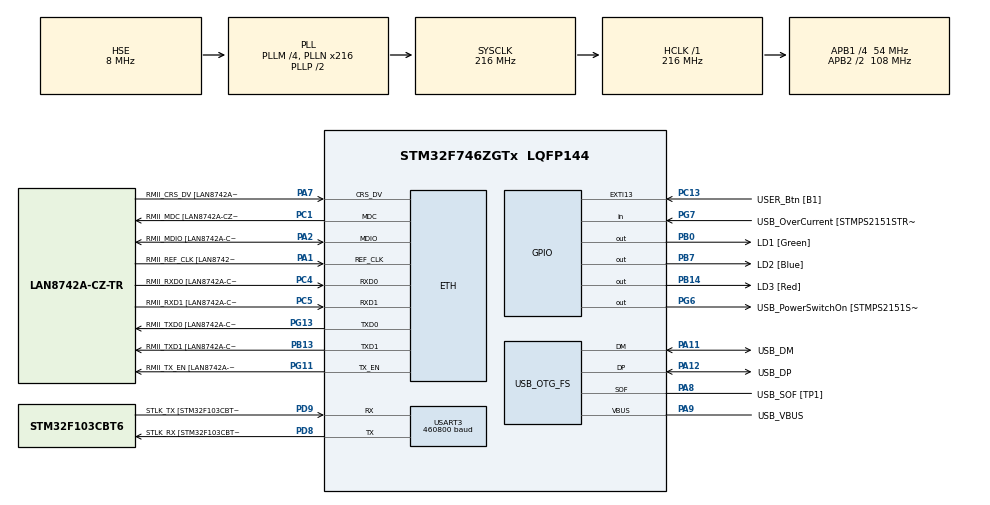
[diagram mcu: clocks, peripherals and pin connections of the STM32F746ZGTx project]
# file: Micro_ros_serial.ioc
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Dma.Request0=USART3_RX
Dma.Request1=USART3_TX
Dma.USART3_RX.0.Direction=DMA_PERIPH_TO_MEMORY
Dma.USART3_RX.0.FIFOMode=DMA_FIFOMODE_DISABLE
Dma.USART3_RX.0.Instance=DMA1_Stream1
Dma.USART3_RX.0.MemDataAlignment=DMA_MDATAALIGN_BYTE
Dma.USART3_RX.0.MemInc=DMA_MINC_ENABLE
Dma.USART3_RX.0.Mode=DMA_CIRCULAR
Dma.USART3_RX.0.PeriphDataAlignment=DMA_PDATAALIGN_BYTE
Dma.USART3_RX.0.PeriphInc=DMA_PINC_DISABLE
Dma.USART3_RX.0.Priority=DMA_PRIORITY_VERY_HIGH
Dma.USART3_TX.1.Direction=DMA_MEMORY_TO_PERIPH
Dma.USART3_TX.1.FIFOMode=DMA_FIFOMODE_DISABLE
Dma.USART3_TX.1.Instance=DMA1_Stream3
Dma.USART3_TX.1.MemDataAlignment=DMA_MDATAALIGN_BYTE
Dma.USART3_TX.1.MemInc=DMA_MINC_ENABLE
Dma.USART3_TX.1.Mode=DMA_NORMAL
Dma.USART3_TX.1.PeriphDataAlignment=DMA_PDATAALIGN_BYTE
Dma.USART3_TX.1.PeriphInc=DMA_PINC_DISABLE
Dma.USART3_TX.1.Priority=DMA_PRIORITY_VERY_HIGH
ETH.MediaInterface=HAL_ETH_RMII_MODE
ETH.PHY_Name=LAN8742A_PHY_ADDRESS
ETH.PHY_Value=0
ETH.PhyAddress=0
FREERTOS.Tasks01=defaultTask,19,8000,StartDefaultTask,Default,NULL,Dynamic,NULL,NULL
FREERTOS.configMAX_TASK_NAME_LEN=30
FREERTOS.configTOTAL_HEAP_SIZE=100000
FREERTOS.configUSE_NEWLIB_REENTRANT=1
LWIP.BSP.number=1
LWIP.GATEWAY_ADDRESS=192.168.001.001
LWIP.IP_ADDRESS=192.168.001.002
LWIP.LWIP_DHCP=0
LWIP.LWIP_IGMP=1
LWIP.LWIP_MULTICAST_TX_OPTIONS=1
LWIP.LWIP_SO_RCVTIMEO=1
LWIP.MEMP_NUM_UDP_PCB=15
LWIP.MEM_SIZE=30000
LWIP.NETMASK_ADDRESS=255.255.255.000
LWIP.PBUF_POOL_SIZE=20
LWIP.TCPIP_THREAD_PRIO=20
LWIP.TCPIP_THREAD_STACKSIZE=10000
LWIP.Version=v2.1.2_Cube
LWIP0.BSP.STBoard=false
LWIP0.BSP.api=BSP_COMPONENT_DRIVER
LWIP0.BSP.component=LAN8742
LWIP0.BSP.instance=LAN8742
LWIP0.BSP.name=Driver_PHY
LWIP0.BSP.semaphore=S_LAN8742
LWIP0.BSP.solution=LAN8742
Mcu.Family=STM32F7
Mcu.Name=STM32F746ZGTx
Mcu.Package=LQFP144
NVIC.DMA1_Stream1_IRQn=true\:5\:0\:false\:false\:true\:true\:false\:true\:true
NVIC.DMA1_Stream3_IRQn=true\:5\:0\:false\:false\:true\:true\:false\:true\:true
NVIC.ETH_IRQn=true\:5\:0\:false\:false\:true\:true\:false\:true\:true
NVIC.PriorityGroup=NVIC_PRIORITYGROUP_4
NVIC.TIM1_UP_TIM10_IRQn=true\:15\:0\:false\:false\:true\:false\:false\:true\:true
NVIC.TimeBase=TIM1_UP_TIM10_IRQn
NVIC.TimeBaseIP=TIM1
NVIC.USART3_IRQn=true\:5\:0\:false\:false\:true\:true\:true\:true\:true
PA1.GPIO_Label=RMII_REF_CLK [LAN8742A-CZ-TR_REFCLK0]
PA1.Mode=RMII
PA1.Signal=ETH_REF_CLK
PA10.GPIO_Label=USB_ID
PA10.Signal=USB_OTG_FS_ID
PA11.GPIO_Label=USB_DM
PA11.Mode=Device_Only
PA11.Signal=USB_OTG_FS_DM
PA12.GPIO_Label=USB_DP
PA12.Mode=Device_Only
PA12.Signal=USB_OTG_FS_DP
PA13.GPIO_Label=TMS
PA13.Mode=Serial_Wire
PA13.Signal=SYS_JTMS-SWDIO
PA14.GPIO_Label=TCK
PA14.Mode=Serial_Wire
PA14.Signal=SYS_JTCK-SWCLK
PA2.GPIO_Label=RMII_MDIO [LAN8742A-CZ-TR_MDIO]
PA2.Mode=RMII
PA2.Signal=ETH_MDIO
PA7.GPIO_Label=RMII_CRS_DV [LAN8742A-CZ-TR_CRS_DV]
PA7.Mode=RMII
PA7.Signal=ETH_CRS_DV
PA8.GPIO_Label=USB_SOF [TP1]
PA8.Mode=Activate_SOF_FS
PA8.Signal=USB_OTG_FS_SOF
PA9.GPIO_Label=USB_VBUS
PA9.Mode=Activate_VBUS
PA9.Signal=USB_OTG_FS_VBUS
PB0.GPIO_Label=LD1 [Green]
PB0.Signal=GPIO_Output
PB13.GPIO_Label=RMII_TXD1 [LAN8742A-CZ-TR_TXD1]
PB13.Mode=RMII
PB13.Signal=ETH_TXD1
PB14.GPIO_Label=LD3 [Red]
PB14.Signal=GPIO_Output
PB3.GPIO_Label=SW0
PB3.Signal=SYS_JTDO-SWO
PB7.GPIO_Label=LD2 [Blue]
PB7.Signal=GPIO_Output
PC1.GPIO_Label=RMII_MDC [LAN8742A-CZ-TR_MDC]
PC1.Mode=RMII
PC1.Signal=ETH_MDC
PC13.GPIO_Label=USER_Btn [B1]
PC13.Signal=GPXTI13
PC14/OSC32_IN.Mode=LSE-External-Oscillator
PC14/OSC32_IN.Signal=RCC_OSC32_IN
PC15/OSC32_OUT.Mode=LSE-External-Oscillator
PC15/OSC32_OUT.Signal=RCC_OSC32_OUT
PC4.GPIO_Label=RMII_RXD0 [LAN8742A-CZ-TR_RXD0]
PC4.Mode=RMII
PC4.Signal=ETH_RXD0
PC5.GPIO_Label=RMII_RXD1 [LAN8742A-CZ-TR_RXD1]
PC5.Mode=RMII
PC5.Signal=ETH_RXD1
PD8.GPIO_Label=STLK_RX [STM32F103CBT6_PA3]
PD8.GPIO_PuPd=GPIO_PULLUP
PD8.Mode=Asynchronous
PD8.Signal=USART3_TX
PD9.GPIO_Label=STLK_TX [STM32F103CBT6_PA2]
PD9.GPIO_PuPd=GPIO_PULLUP
PD9.Mode=Asynchronous
PD9.Signal=USART3_RX
PG11.GPIO_Label=RMII_TX_EN [LAN8742A-CZ-TR_TXEN]
PG11.Mode=RMII
PG11.Signal=ETH_TX_EN
PG13.GPIO_Label=RMII_TXD0 [LAN8742A-CZ-TR_TXD0]
PG13.Mode=RMII
PG13.Signal=ETH_TXD0
PG6.GPIO_Label=USB_PowerSwitchOn [STMPS2151STR_EN]
PG6.Signal=GPIO_Output
PG7.GPIO_Label=USB_OverCurrent [STMPS2151STR_FAULT]
PG7.Signal=GPIO_Input
PH0/OSC_IN.GPIO_Label=MCO [STM32F103CBT6_PA8]
PH0/OSC_IN.Mode=HSE-External-Oscillator
PH0/OSC_IN.Signal=RCC_OSC_IN
PH1/OSC_OUT.Mode=HSE-External-Oscillator
PH1/OSC_OUT.Signal=RCC_OSC_OUT
ProjectManager.HeapSize=0x200
ProjectManager.StackSize=0x400
ProjectManager.TargetToolchain=STM32CubeIDE
RCC.48MHZClocksFreq_Value=24000000
RCC.AHBFreq_Value=216000000
RCC.APB1CLKDivider=RCC_HCLK_DIV4
RCC.APB1Freq_Value=54000000
RCC.APB1TimFreq_Value=108000000
RCC.APB2CLKDivider=RCC_HCLK_DIV2
RCC.APB2Freq_Value=108000000
RCC.APB2TimFreq_Value=216000000
RCC.CortexFreq_Value=216000000
RCC.HCLKFreq_Value=216000000
RCC.HSE_VALUE=8000000
RCC.HSI_VALUE=16000000
RCC.PLLM=4
RCC.PLLMUL=RCC_PLL_MUL9
RCC.PLLN=216
RCC.PLLQ=9
RCC.PRESCALERUSB=RCC_USBCLKSOURCE_PLL_DIV1_5
RCC.SYSCLKFreq_VALUE=216000000
RCC.SYSCLKSource=RCC_SYSCLKSOURCE_PLLCLK
RCC.SYSCLKSourceVirtual=RCC_SYSCLKSOURCE_PLLCLK
RCC.USBFreq_Value=48000000
RCC.VCOOutputFreq_Value=432000000
USART3.BaudRate=460800
USART3.VirtualMode-Asynchronous=VM_ASYNC
USB_OTG_FS.VirtualMode=Device_Only
VP_FREERTOS_VS_CMSIS_V2.Mode=CMSIS_V2
VP_LWIP_VS_Enabled.Mode=Enabled
VP_SYS_VS_tim1.Mode=TIM1
board=NUCLEO-F746ZG

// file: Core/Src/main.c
/* USER CODE BEGIN Header */
/**
  ******************************************************************************
  * @file           : main.c
  * @brief          : Main program body
  ******************************************************************************
  * @attention
  *
  * <h2><center>&copy; Copyright (c) 2021 STMicroelectronics.
  * All rights reserved.</center></h2>
  *
  * This software component is licensed by ST under BSD 3-Clause license,
  * the "License"; You may not use this file except in compliance with the
  * License. You may obtain a copy of the License at:
  *                        opensource.org/licenses/BSD-3-Clause
  *
  ******************************************************************************
  */
/* USER CODE END Header */
#include "main.h"
#include "cmsis_os.h"
#include "lwip.h"

/* USER CODE BEGIN Includes */
#include <rcl/rcl.h>
#include <rcl/error_handling.h>
#include <rclc/rclc.h>
#include <rclc/executor.h>
#include <uxr/client/transport.h>
#include <rmw_microxrcedds_c/config.h>
#include <rmw_microros/rmw_microros.h>
#include <geometry_msgs/msg/twist.h>
#include <std_msgs/msg/int32.h>
#include <sensor_msgs/msg/joy.h>
#include<std_msgs/msg/u_int16_multi_array.h>
#include<stdlib.h>
#include<stdio.h>
/* USER CODE END Includes */

/* USER CODE BEGIN PD */

#define ITM_Port8(n) (*((volatile unsigned char *)(0xE0000000 + 4 * n)))
#define ITM_Port32(n) (*((volatile unsigned long *)(0xE0000000 + 4 * n)))
#define DEMCR (*(volatile unsigned long *)(0xE000EDFC))
#define TRCENA 0x01000000

/* USER CODE END PD */

UART_HandleTypeDef huart3;
DMA_HandleTypeDef hdma_usart3_rx;
DMA_HandleTypeDef hdma_usart3_tx;

PCD_HandleTypeDef hpcd_USB_OTG_FS;

/* Definitions for defaultTask */
osThreadId_t defaultTaskHandle;
const osThreadAttr_t defaultTask_attributes = {
  .name = "defaultTask",
  .stack_size = 8000 * 4,
  .priority = (osPriority_t) osPriorityBelowNormal3,
};
/* USER CODE BEGIN PV */
//geometry_msgs__msg__Twist msg;
//sensor_msgs__msg__Joy joy_msg;
std_msgs__msg__UInt16MultiArray joy_msg;
int free_heap;
int error=0;
uint16_t value[4];
/* USER CODE END PV */

void SystemClock_Config(void);
static void MX_GPIO_Init(void);
static void MX_DMA_Init(void);
static void MX_USART3_UART_Init(void);
static void MX_USB_OTG_FS_PCD_Init(void);
void StartDefaultTask(void *argument);

int main(void)
{

  /* MCU Configuration--------------------------------------------------------*/

  /* Reset of all peripherals, Initializes the Flash interface and the Systick. */
  HAL_Init();

  /* Configure the system clock */
  SystemClock_Config();

  /* Initialize all configured peripherals */
  MX_GPIO_Init();
  MX_DMA_Init();
  MX_USART3_UART_Init();
  MX_USB_OTG_FS_PCD_Init();

  /* Init scheduler */
  osKernelInitialize();

  /* Create the thread(s) */
  /* creation of defaultTask */
  defaultTaskHandle = osThreadNew(StartDefaultTask, NULL, &defaultTask_attributes);

  /* Start scheduler */
  osKernelStart();

  /* We should never get here as control is now taken by the scheduler */

  /* Infinite loop */
  while (1)
  {

  }
}

void SystemClock_Config(void)
{
  RCC_OscInitTypeDef RCC_OscInitStruct = {0};
  RCC_ClkInitTypeDef RCC_ClkInitStruct = {0};

  /** Configure LSE Drive Capability
  */
  HAL_PWR_EnableBkUpAccess();

  /** Configure the main internal regulator output voltage
  */
  __HAL_RCC_PWR_CLK_ENABLE();
  __HAL_PWR_VOLTAGESCALING_CONFIG(PWR_REGULATOR_VOLTAGE_SCALE1);

  /** Initializes the RCC Oscillators according to the specified parameters
  * in the RCC_OscInitTypeDef structure.
  */
  RCC_OscInitStruct.OscillatorType = RCC_OSCILLATORTYPE_HSE;
  RCC_OscInitStruct.HSEState = RCC_HSE_ON;
  RCC_OscInitStruct.PLL.PLLState = RCC_PLL_ON;
  RCC_OscInitStruct.PLL.PLLSource = RCC_PLLSOURCE_HSE;
  RCC_OscInitStruct.PLL.PLLM = 4;
  RCC_OscInitStruct.PLL.PLLN = 216;
  RCC_OscInitStruct.PLL.PLLP = RCC_PLLP_DIV2;
  RCC_OscInitStruct.PLL.PLLQ = 9;
  if (HAL_RCC_OscConfig(&RCC_OscInitStruct) != HAL_OK)
  {
    Error_Handler();
  }

  /** Activate the Over-Drive mode
  */
  if (HAL_PWREx_EnableOverDrive() != HAL_OK)
  {
    Error_Handler();
  }

  /** Initializes the CPU, AHB and APB buses clocks
  */
  RCC_ClkInitStruct.ClockType = RCC_CLOCKTYPE_HCLK|RCC_CLOCKTYPE_SYSCLK
                              |RCC_CLOCKTYPE_PCLK1|RCC_CLOCKTYPE_PCLK2;
  RCC_ClkInitStruct.SYSCLKSource = RCC_SYSCLKSOURCE_PLLCLK;
  RCC_ClkInitStruct.AHBCLKDivider = RCC_SYSCLK_DIV1;
  RCC_ClkInitStruct.APB1CLKDivider = RCC_HCLK_DIV4;
  RCC_ClkInitStruct.APB2CLKDivider = RCC_HCLK_DIV2;

  if (HAL_RCC_ClockConfig(&RCC_ClkInitStruct, FLASH_LATENCY_7) != HAL_OK)
  {
    Error_Handler();
  }
}

static void MX_USART3_UART_Init(void)
{

  huart3.Instance = USART3;
  huart3.Init.BaudRate = 460800;
  huart3.Init.WordLength = UART_WORDLENGTH_8B;
  huart3.Init.StopBits = UART_STOPBITS_1;
  huart3.Init.Parity = UART_PARITY_NONE;
  huart3.Init.Mode = UART_MODE_TX_RX;
  huart3.Init.HwFlowCtl = UART_HWCONTROL_NONE;
  huart3.Init.OverSampling = UART_OVERSAMPLING_16;
  huart3.Init.OneBitSampling = UART_ONE_BIT_SAMPLE_DISABLE;
  huart3.AdvancedInit.AdvFeatureInit = UART_ADVFEATURE_NO_INIT;
  if (HAL_UART_Init(&huart3) != HAL_OK)
  {
    Error_Handler();
  }

}

static void MX_USB_OTG_FS_PCD_Init(void)
{

  hpcd_USB_OTG_FS.Instance = USB_OTG_FS;
  hpcd_USB_OTG_FS.Init.dev_endpoints = 6;
  hpcd_USB_OTG_FS.Init.speed = PCD_SPEED_FULL;
  hpcd_USB_OTG_FS.Init.dma_enable = DISABLE;
  hpcd_USB_OTG_FS.Init.phy_itface = PCD_PHY_EMBEDDED;
  hpcd_USB_OTG_FS.Init.Sof_enable = ENABLE;
  hpcd_USB_OTG_FS.Init.low_power_enable = DISABLE;
  hpcd_USB_OTG_FS.Init.lpm_enable = DISABLE;
  hpcd_USB_OTG_FS.Init.vbus_sensing_enable = ENABLE;
  hpcd_USB_OTG_FS.Init.use_dedicated_ep1 = DISABLE;
  if (HAL_PCD_Init(&hpcd_USB_OTG_FS) != HAL_OK)
  {
    Error_Handler();
  }

}

static void MX_DMA_Init(void)
{

  /* DMA controller clock enable */
  __HAL_RCC_DMA1_CLK_ENABLE();

  /* DMA interrupt init */
  /* DMA1_Stream1_IRQn interrupt configuration */
  HAL_NVIC_SetPriority(DMA1_Stream1_IRQn, 5, 0);
  HAL_NVIC_EnableIRQ(DMA1_Stream1_IRQn);
  /* DMA1_Stream3_IRQn interrupt configuration */
  HAL_NVIC_SetPriority(DMA1_Stream3_IRQn, 5, 0);
  HAL_NVIC_EnableIRQ(DMA1_Stream3_IRQn);

}

static void MX_GPIO_Init(void)
{
  GPIO_InitTypeDef GPIO_InitStruct = {0};

  /* GPIO Ports Clock Enable */
  __HAL_RCC_GPIOC_CLK_ENABLE();
  __HAL_RCC_GPIOH_CLK_ENABLE();
  __HAL_RCC_GPIOA_CLK_ENABLE();
  __HAL_RCC_GPIOB_CLK_ENABLE();
  __HAL_RCC_GPIOD_CLK_ENABLE();
  __HAL_RCC_GPIOG_CLK_ENABLE();

  /*Configure GPIO pin Output Level */
  HAL_GPIO_WritePin(GPIOB, LD1_Pin|LD3_Pin|LD2_Pin, GPIO_PIN_RESET);

  /*Configure GPIO pin Output Level */
  HAL_GPIO_WritePin(USB_PowerSwitchOn_GPIO_Port, USB_PowerSwitchOn_Pin, GPIO_PIN_RESET);

  /*Configure GPIO pin : USER_Btn_Pin */
  GPIO_InitStruct.Pin = USER_Btn_Pin;
  GPIO_InitStruct.Mode = GPIO_MODE_IT_RISING;
  GPIO_InitStruct.Pull = GPIO_NOPULL;
  HAL_GPIO_Init(USER_Btn_GPIO_Port, &GPIO_InitStruct);

  /*Configure GPIO pins : LD1_Pin LD3_Pin LD2_Pin */
  GPIO_InitStruct.Pin = LD1_Pin|LD3_Pin|LD2_Pin;
  GPIO_InitStruct.Mode = GPIO_MODE_OUTPUT_PP;
  GPIO_InitStruct.Pull = GPIO_NOPULL;
  GPIO_InitStruct.Speed = GPIO_SPEED_FREQ_LOW;
  HAL_GPIO_Init(GPIOB, &GPIO_InitStruct);

  /*Configure GPIO pin : USB_PowerSwitchOn_Pin */
  GPIO_InitStruct.Pin = USB_PowerSwitchOn_Pin;
  GPIO_InitStruct.Mode = GPIO_MODE_OUTPUT_PP;
  GPIO_InitStruct.Pull = GPIO_NOPULL;
  GPIO_InitStruct.Speed = GPIO_SPEED_FREQ_LOW;
  HAL_GPIO_Init(USB_PowerSwitchOn_GPIO_Port, &GPIO_InitStruct);

  /*Configure GPIO pin : USB_OverCurrent_Pin */
  GPIO_InitStruct.Pin = USB_OverCurrent_Pin;
  GPIO_InitStruct.Mode = GPIO_MODE_INPUT;
  GPIO_InitStruct.Pull = GPIO_NOPULL;
  HAL_GPIO_Init(USB_OverCurrent_GPIO_Port, &GPIO_InitStruct);

}

/* USER CODE BEGIN 4 */
bool cubemx_transport_open_udp(struct uxrCustomTransport * transport);
bool cubemx_transport_close_udp(struct uxrCustomTransport * transport);
size_t cubemx_transport_write_udp(struct uxrCustomTransport* transport, const uint8_t * buf, size_t len, uint8_t * err);
size_t cubemx_transport_read_udp(struct uxrCustomTransport* transport, uint8_t* buf, size_t len, int timeout, uint8_t* err);

void * microros_allocate(size_t size, void * state);
void microros_deallocate(void * pointer, void * state);
void * microros_reallocate(void * pointer, size_t size, void * state);
void * microros_zero_allocate(size_t number_of_elements, size_t size_of_element, void * state);

void error_loop(){
     for (;;) {
        osDelay(1000); // Infinite loop to indicate error
    }
}

#define RCCHECK(fn) { rcl_ret_t temp_rc = fn; if((temp_rc != RCL_RET_OK)){error_loop();}}
#define RCSOFTCHECK(fn) { rcl_ret_t temp_rc = fn; if((temp_rc != RCL_RET_OK)){error_loop();}}

void subscription_callback(const void *msgin) {
	   const std_msgs__msg__UInt16MultiArray *received_msg = (const std_msgs__msg__UInt16MultiArray *)msgin;

	    // Process the message data safely
	    for (size_t i = 0; i < received_msg->data.size; i++) {
	        value[i] = received_msg->data.data[i];
	        printf("Received value[%zu]: %u\n", i, value);}
}
/* USER CODE END 4 */

void StartDefaultTask(void *argument)
{
  /* init code for LWIP */
  MX_LWIP_Init();
  /* USER CODE BEGIN 5 */
    // Micro-ROS custom transport setup
    rmw_uros_set_custom_transport(
		false,
		"192.168.1.100",
//    	true,
//        (void *) &huart3,
        cubemx_transport_open_udp,
        cubemx_transport_close_udp,
        cubemx_transport_write_udp,
        cubemx_transport_read_udp
    );

    // Custom FreeRTOS allocator setup
    rcl_allocator_t freeRTOS_allocator = rcutils_get_zero_initialized_allocator();
    freeRTOS_allocator.allocate = microros_allocate;
    freeRTOS_allocator.deallocate = microros_deallocate;
    freeRTOS_allocator.reallocate = microros_reallocate;
    freeRTOS_allocator.zero_allocate = microros_zero_allocate;

    // Set default allocator
    if (!rcutils_set_default_allocator(&freeRTOS_allocator)) {
         return;  // Exit if allocator setup fails
    }

    // Micro-ROS variables
    rcl_subscription_t subscriber;
    rclc_executor_t executor;
    rcl_allocator_t allocator;
    rclc_support_t support;
    rcl_node_t node;

    // Get default allocator
    allocator = rcl_get_default_allocator();

    // Initialize support
    rcl_ret_t support_ret = rclc_support_init(&support, 0, NULL, &allocator);

    std_msgs__msg__UInt16MultiArray__init(&joy_msg);
    joy_msg.data.capacity = 4;
    joy_msg.data.data = (uint16_t *)malloc(sizeof(uint16_t) * joy_msg.data.capacity);
    rcl_ret_t node_ret = rclc_node_init_default(&node, "velocity_node", "", &support);
    if (node_ret != RCL_RET_OK) {
         return;
    }
    // Initialize message before subscription

    // Create subscriber

    rcl_ret_t sub_ret = rclc_subscription_init_default(
        &subscriber,
        &node,
        ROSIDL_GET_MSG_TYPE_SUPPORT(std_msgs, msg, UInt16MultiArray),
        "joy_combined");

    // Create executor
    rcl_ret_t exec_ret = rclc_executor_init(&executor, &support.context, 1, &allocator);

    // Add subscription to executor
    rcl_ret_t add_sub_ret = rclc_executor_add_subscription(
        &executor,
        &subscriber,
        &joy_msg,
        &subscription_callback,
        ON_NEW_DATA
    );
    if (add_sub_ret != RCL_RET_OK) {
         return;
    }

    // Main task loop
    for (;;) {
        uint32_t free_heap = xPortGetFreeHeapSize();

        // Spin executor with error handling
        rcl_ret_t spin_ret = rclc_executor_spin_some(&executor, RCL_MS_TO_NS(100));

        // Error handling
        switch(spin_ret) {
                   case RCL_RET_OK:
                	   error=10;
                       // Normal operation
                       break;

                   case RCL_RET_TIMEOUT:
                        error=0;
                       break;

                   case RCL_RET_ERROR:
                        error=1;
                       break;

                   case RCL_RET_BAD_ALLOC:
                        error=2;
                       break;

                   case RCL_RET_INVALID_ARGUMENT:

                       error=3;
                       break;

                   default:

                       error=4;
                       break;
               }

        // Small delay to prevent task blocking
        osDelay(10);
    }
    /* USER CODE END 5 */
}

void HAL_TIM_PeriodElapsedCallback(TIM_HandleTypeDef *htim)
{
  if (htim->Instance == TIM1) {
    HAL_IncTick();
  }
}

void Error_Handler(void)
{
  __disable_irq();
  while (1)
  {
  }
}
